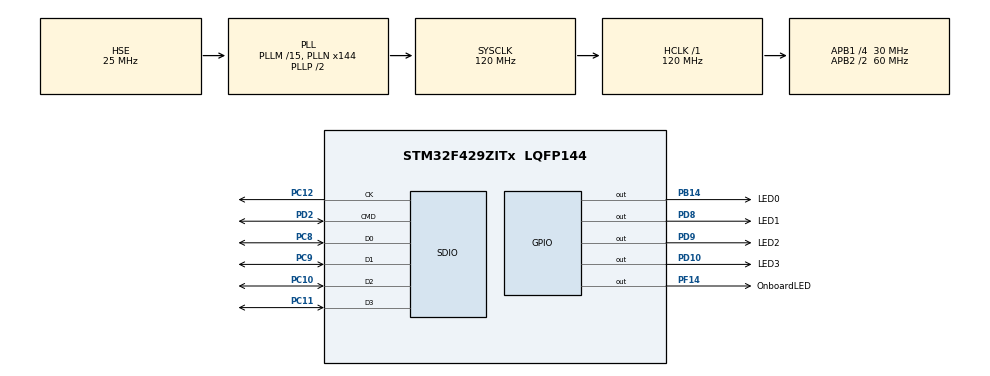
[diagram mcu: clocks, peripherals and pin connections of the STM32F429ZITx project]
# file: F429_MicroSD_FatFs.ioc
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Dma.Request0=SDIO_RX
Dma.Request1=SDIO_TX
Dma.SDIO_RX.0.Direction=DMA_PERIPH_TO_MEMORY
Dma.SDIO_RX.0.FIFOMode=DMA_FIFOMODE_ENABLE
Dma.SDIO_RX.0.FIFOThreshold=DMA_FIFO_THRESHOLD_FULL
Dma.SDIO_RX.0.Instance=DMA2_Stream3
Dma.SDIO_RX.0.MemBurst=DMA_MBURST_INC4
Dma.SDIO_RX.0.MemDataAlignment=DMA_MDATAALIGN_WORD
Dma.SDIO_RX.0.MemInc=DMA_MINC_ENABLE
Dma.SDIO_RX.0.Mode=DMA_PFCTRL
Dma.SDIO_RX.0.PeriphBurst=DMA_PBURST_INC4
Dma.SDIO_RX.0.PeriphDataAlignment=DMA_PDATAALIGN_WORD
Dma.SDIO_RX.0.PeriphInc=DMA_PINC_DISABLE
Dma.SDIO_RX.0.Priority=DMA_PRIORITY_LOW
Dma.SDIO_TX.1.Direction=DMA_MEMORY_TO_PERIPH
Dma.SDIO_TX.1.FIFOMode=DMA_FIFOMODE_ENABLE
Dma.SDIO_TX.1.FIFOThreshold=DMA_FIFO_THRESHOLD_FULL
Dma.SDIO_TX.1.Instance=DMA2_Stream6
Dma.SDIO_TX.1.MemBurst=DMA_MBURST_INC4
Dma.SDIO_TX.1.MemDataAlignment=DMA_MDATAALIGN_WORD
Dma.SDIO_TX.1.MemInc=DMA_MINC_ENABLE
Dma.SDIO_TX.1.Mode=DMA_PFCTRL
Dma.SDIO_TX.1.PeriphBurst=DMA_PBURST_INC4
Dma.SDIO_TX.1.PeriphDataAlignment=DMA_PDATAALIGN_WORD
Dma.SDIO_TX.1.PeriphInc=DMA_PINC_DISABLE
Dma.SDIO_TX.1.Priority=DMA_PRIORITY_LOW
FATFS.USE_DMA_CODE_SD=1
FATFS._USE_LFN=2
Mcu.Family=STM32F4
Mcu.Name=STM32F429ZITx
Mcu.Package=LQFP144
NVIC.DMA2_Stream3_IRQn=true\:0\:0\:true\:false\:true\:false
NVIC.DMA2_Stream6_IRQn=true\:0\:0\:true\:false\:true\:false
NVIC.PriorityGroup=NVIC_PRIORITYGROUP_4
NVIC.SDIO_IRQn=true\:0\:0\:true\:false\:true\:true
PB14.GPIO_Label=LED0
PB14.PinState=GPIO_PIN_SET
PB14.Signal=GPIO_Output
PC10.Mode=SD_4_bits_Wide_bus
PC10.Signal=SDIO_D2
PC11.Mode=SD_4_bits_Wide_bus
PC11.Signal=SDIO_D3
PC12.Mode=SD_4_bits_Wide_bus
PC12.Signal=SDIO_CK
PC8.Mode=SD_4_bits_Wide_bus
PC8.Signal=SDIO_D0
PC9.Mode=SD_4_bits_Wide_bus
PC9.Signal=SDIO_D1
PD10.GPIO_Label=LED3
PD10.PinState=GPIO_PIN_SET
PD10.Signal=GPIO_Output
PD2.Mode=SD_4_bits_Wide_bus
PD2.Signal=SDIO_CMD
PD8.GPIO_Label=LED1
PD8.PinState=GPIO_PIN_SET
PD8.Signal=GPIO_Output
PD9.GPIO_Label=LED2
PD9.PinState=GPIO_PIN_SET
PD9.Signal=GPIO_Output
PF14.GPIO_Label=OnboardLED
PF14.PinState=GPIO_PIN_RESET
PF14.Signal=GPIO_Output
PH0/OSC_IN.Mode=HSE-External-Oscillator
PH0/OSC_IN.Signal=RCC_OSC_IN
PH1/OSC_OUT.Mode=HSE-External-Oscillator
PH1/OSC_OUT.Signal=RCC_OSC_OUT
ProjectManager.HeapSize=0x200
ProjectManager.StackSize=0x400
ProjectManager.TargetToolchain=MDK-ARM V5
RCC.48MHZClocksFreq_Value=48000000
RCC.AHBFreq_Value=120000000
RCC.APB1CLKDivider=RCC_HCLK_DIV4
RCC.APB1Freq_Value=30000000
RCC.APB1TimFreq_Value=60000000
RCC.APB2CLKDivider=RCC_HCLK_DIV2
RCC.APB2Freq_Value=60000000
RCC.APB2TimFreq_Value=120000000
RCC.CortexFreq_Value=120000000
RCC.HCLKFreq_Value=120000000
RCC.HSE_VALUE=25000000
RCC.HSI_VALUE=16000000
RCC.LSE_VALUE=32768
RCC.PLLM=15
RCC.PLLN=144
RCC.PLLQ=5
RCC.PLLSourceVirtual=RCC_PLLSOURCE_HSE
RCC.SYSCLKFreq_VALUE=120000000
RCC.SYSCLKSource=RCC_SYSCLKSOURCE_PLLCLK
RCC.VCOOutputFreq_Value=240000000
SDIO.ClockDiv=0
VP_FATFS_VS_SDIO.Mode=SDIO
board=custom

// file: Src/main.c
/* USER CODE BEGIN Header */
/**
  ******************************************************************************
  * @file           : main.c
  * @brief          : Main program body
  ******************************************************************************
  * This notice applies to any and all portions of this file
  * that are not between comment pairs USER CODE BEGIN and
  * USER CODE END. Other portions of this file, whether
  * inserted by the user or by software development tools
  * are owned by their respective copyright owners.
  *
  * Copyright (c) 2019 STMicroelectronics International N.V.
  * All rights reserved.
  *
  * Redistribution and use in source and binary forms, with or without
  * modification, are permitted, provided that the following conditions are met:
  *
  * 1. Redistribution of source code must retain the above copyright notice,
  *    this list of conditions and the following disclaimer.
  * 2. Redistributions in binary form must reproduce the above copyright notice,
  *    this list of conditions and the following disclaimer in the documentation
  *    and/or other materials provided with the distribution.
  * 3. Neither the name of STMicroelectronics nor the names of other
  *    contributors to this software may be used to endorse or promote products
  *    derived from this software without specific written permission.
  * 4. This software, including modifications and/or derivative works of this
  *    software, must execute solely and exclusively on microcontroller or
  *    microprocessor devices manufactured by or for STMicroelectronics.
  * 5. Redistribution and use of this software other than as permitted under
  *    this license is void and will automatically terminate your rights under
  *    this license.
  *
  * THIS SOFTWARE IS PROVIDED BY STMICROELECTRONICS AND CONTRIBUTORS "AS IS"
  * AND ANY EXPRESS, IMPLIED OR STATUTORY WARRANTIES, INCLUDING, BUT NOT
  * LIMITED TO, THE IMPLIED WARRANTIES OF MERCHANTABILITY, FITNESS FOR A
  * PARTICULAR PURPOSE AND NON-INFRINGEMENT OF THIRD PARTY INTELLECTUAL PROPERTY
  * RIGHTS ARE DISCLAIMED TO THE FULLEST EXTENT PERMITTED BY LAW. IN NO EVENT
  * SHALL STMICROELECTRONICS OR CONTRIBUTORS BE LIABLE FOR ANY DIRECT, INDIRECT,
  * INCIDENTAL, SPECIAL, EXEMPLARY, OR CONSEQUENTIAL DAMAGES (INCLUDING, BUT NOT
  * LIMITED TO, PROCUREMENT OF SUBSTITUTE GOODS OR SERVICES; LOSS OF USE, DATA,
  * OR PROFITS; OR BUSINESS INTERRUPTION) HOWEVER CAUSED AND ON ANY THEORY OF
  * LIABILITY, WHETHER IN CONTRACT, STRICT LIABILITY, OR TORT (INCLUDING
  * NEGLIGENCE OR OTHERWISE) ARISING IN ANY WAY OUT OF THE USE OF THIS SOFTWARE,
  * EVEN IF ADVISED OF THE POSSIBILITY OF SUCH DAMAGE.
  *
  ******************************************************************************
  */
/* USER CODE END Header */

#include "main.h"
#include "fatfs.h"

SD_HandleTypeDef hsd;
DMA_HandleTypeDef hdma_sdio_rx;
DMA_HandleTypeDef hdma_sdio_tx;

/* USER CODE BEGIN PV */
static uint8_t buffer[_MAX_SS]; /* a work buffer for the f_mkfs() */

extern FATFS SDFatFS;    /* File system object for SD logical drive */
extern FIL SDFile;     /* File object */

extern uint8_t retSD;    /* Return value for SD */

FIL fil;      			 // file objects

uint32_t byteswritten;                /* File write counts */
uint32_t bytesread;                   /* File read counts */
uint8_t wtext[] = "This is STM32 working with FatFs"; /* File write buffer */
uint8_t rtext[100];                     /* File read buffers */
char filename[] = "STM32F4CubeMX.txt";
/* USER CODE END PV */

void SystemClock_Config(void);
static void MX_GPIO_Init(void);
static void MX_DMA_Init(void);
static void MX_SDIO_SD_Init(void);

int main(void)
{

  /* MCU Configuration--------------------------------------------------------*/

  /* Reset of all peripherals, Initializes the Flash interface and the Systick. */
  HAL_Init();

  /* Configure the system clock */
  SystemClock_Config();

  /* Initialize all configured peripherals */
  MX_GPIO_Init();
  MX_DMA_Init();
  MX_SDIO_SD_Init();
  MX_FATFS_Init();
  /* USER CODE BEGIN 2 */
//=====================================================================//
	/*##-1- Register the file system object to the FatFs module ##############*/
	retSD = f_mount(&SDFatFS, "", 0);
	if(retSD)
	{
		Error_Handler();
	}
	else
		HAL_GPIO_WritePin(LED3_GPIO_Port, LED3_Pin, GPIO_PIN_RESET);
//=====================================================================//
		/*##-2- Create and Open new text file objects with write access ######*/
	retSD = f_open(&fil, filename, FA_CREATE_ALWAYS | FA_WRITE);
	if(retSD)
	{
		HAL_GPIO_WritePin(LED3_GPIO_Port, LED3_Pin, GPIO_PIN_SET);
		Error_Handler();
	}
	else
		HAL_GPIO_WritePin(LED3_GPIO_Port, LED3_Pin, GPIO_PIN_RESET);
//=====================================================================//
	/*##-3- Write data to the text files ###############################*/
	retSD = f_write(&fil, wtext, sizeof(wtext), (void *)&byteswritten);
	if(retSD)
	{
		HAL_GPIO_WritePin(LED3_GPIO_Port, LED3_Pin, GPIO_PIN_SET);
		Error_Handler();
	}
	else
		HAL_GPIO_WritePin(LED3_GPIO_Port, LED3_Pin, GPIO_PIN_RESET);
//=====================================================================//
	/*##-4- Close the open text files ################################*/
	retSD = f_close(&fil);
	if(retSD)
	{
		HAL_GPIO_WritePin(LED3_GPIO_Port, LED3_Pin, GPIO_PIN_SET);
		Error_Handler();
	}
	else
		HAL_GPIO_WritePin(LED3_GPIO_Port, LED3_Pin, GPIO_PIN_RESET);
//=====================================================================//
//=====================================================================//
//=====================================================================//
	/*##-5- Open the text files object with read access ##############*/
	retSD = f_open(&fil, filename, FA_READ);
	if(retSD)
	{
		HAL_GPIO_WritePin(LED3_GPIO_Port, LED3_Pin, GPIO_PIN_SET);
		Error_Handler();
	}
	else
		HAL_GPIO_WritePin(LED3_GPIO_Port, LED3_Pin, GPIO_PIN_RESET);
//=====================================================================//
	/*##-6- Read data from the text files ##########################*/
	retSD = f_read(&fil, rtext, sizeof(rtext), (UINT*)&bytesread);
	if(retSD)
	{
		HAL_GPIO_WritePin(LED3_GPIO_Port, LED3_Pin, GPIO_PIN_SET);
		Error_Handler();
	}
	else
		HAL_GPIO_WritePin(LED3_GPIO_Port, LED3_Pin, GPIO_PIN_RESET);
//=====================================================================//
	/*##-7- Close the open text files ############################*/
	retSD = f_close(&fil);
	if(retSD)
	{
		HAL_GPIO_WritePin(LED3_GPIO_Port, LED3_Pin, GPIO_PIN_SET);
		Error_Handler();
	}
	else
		HAL_GPIO_WritePin(LED3_GPIO_Port, LED3_Pin, GPIO_PIN_RESET);
//=====================================================================//
	/*##-8- Compare read data with the expected data ############*/
	if(bytesread == byteswritten)
		HAL_GPIO_WritePin(LED2_GPIO_Port, LED2_Pin, GPIO_PIN_RESET);
  /* USER CODE END 2 */

  /* Infinite loop */
  while (1)
  {

  }
}

void SystemClock_Config(void)
{
  RCC_OscInitTypeDef RCC_OscInitStruct = {0};
  RCC_ClkInitTypeDef RCC_ClkInitStruct = {0};

  /**Configure the main internal regulator output voltage
  */
  __HAL_RCC_PWR_CLK_ENABLE();
  __HAL_PWR_VOLTAGESCALING_CONFIG(PWR_REGULATOR_VOLTAGE_SCALE3);
  /**Initializes the CPU, AHB and APB busses clocks
  */
  RCC_OscInitStruct.OscillatorType = RCC_OSCILLATORTYPE_HSE;
  RCC_OscInitStruct.HSEState = RCC_HSE_ON;
  RCC_OscInitStruct.PLL.PLLState = RCC_PLL_ON;
  RCC_OscInitStruct.PLL.PLLSource = RCC_PLLSOURCE_HSE;
  RCC_OscInitStruct.PLL.PLLM = 15;
  RCC_OscInitStruct.PLL.PLLN = 144;
  RCC_OscInitStruct.PLL.PLLP = RCC_PLLP_DIV2;
  RCC_OscInitStruct.PLL.PLLQ = 5;
  if (HAL_RCC_OscConfig(&RCC_OscInitStruct) != HAL_OK)
  {
    Error_Handler();
  }
  /**Initializes the CPU, AHB and APB busses clocks
  */
  RCC_ClkInitStruct.ClockType = RCC_CLOCKTYPE_HCLK|RCC_CLOCKTYPE_SYSCLK
                              |RCC_CLOCKTYPE_PCLK1|RCC_CLOCKTYPE_PCLK2;
  RCC_ClkInitStruct.SYSCLKSource = RCC_SYSCLKSOURCE_PLLCLK;
  RCC_ClkInitStruct.AHBCLKDivider = RCC_SYSCLK_DIV1;
  RCC_ClkInitStruct.APB1CLKDivider = RCC_HCLK_DIV4;
  RCC_ClkInitStruct.APB2CLKDivider = RCC_HCLK_DIV2;

  if (HAL_RCC_ClockConfig(&RCC_ClkInitStruct, FLASH_LATENCY_3) != HAL_OK)
  {
    Error_Handler();
  }
}

static void MX_SDIO_SD_Init(void)
{

  hsd.Instance = SDIO;
  hsd.Init.ClockEdge = SDIO_CLOCK_EDGE_RISING;
  hsd.Init.ClockBypass = SDIO_CLOCK_BYPASS_DISABLE;
  hsd.Init.ClockPowerSave = SDIO_CLOCK_POWER_SAVE_DISABLE;
  hsd.Init.BusWide = SDIO_BUS_WIDE_1B;
  hsd.Init.HardwareFlowControl = SDIO_HARDWARE_FLOW_CONTROL_DISABLE;
  hsd.Init.ClockDiv = 0;

}

static void MX_DMA_Init(void)
{
  /* DMA controller clock enable */
  __HAL_RCC_DMA2_CLK_ENABLE();

  /* DMA interrupt init */
  /* DMA2_Stream3_IRQn interrupt configuration */
  HAL_NVIC_SetPriority(DMA2_Stream3_IRQn, 0, 0);
  HAL_NVIC_EnableIRQ(DMA2_Stream3_IRQn);
  /* DMA2_Stream6_IRQn interrupt configuration */
  HAL_NVIC_SetPriority(DMA2_Stream6_IRQn, 0, 0);
  HAL_NVIC_EnableIRQ(DMA2_Stream6_IRQn);

}

static void MX_GPIO_Init(void)
{
  GPIO_InitTypeDef GPIO_InitStruct = {0};

  /* GPIO Ports Clock Enable */
  __HAL_RCC_GPIOH_CLK_ENABLE();
  __HAL_RCC_GPIOF_CLK_ENABLE();
  __HAL_RCC_GPIOB_CLK_ENABLE();
  __HAL_RCC_GPIOD_CLK_ENABLE();
  __HAL_RCC_GPIOC_CLK_ENABLE();

  /*Configure GPIO pin Output Level */
  HAL_GPIO_WritePin(OnboardLED_GPIO_Port, OnboardLED_Pin, GPIO_PIN_RESET);

  /*Configure GPIO pin Output Level */
  HAL_GPIO_WritePin(LED0_GPIO_Port, LED0_Pin, GPIO_PIN_SET);

  /*Configure GPIO pin Output Level */
  HAL_GPIO_WritePin(GPIOD, LED1_Pin|LED2_Pin|LED3_Pin, GPIO_PIN_SET);

  /*Configure GPIO pin : OnboardLED_Pin */
  GPIO_InitStruct.Pin = OnboardLED_Pin;
  GPIO_InitStruct.Mode = GPIO_MODE_OUTPUT_PP;
  GPIO_InitStruct.Pull = GPIO_NOPULL;
  GPIO_InitStruct.Speed = GPIO_SPEED_FREQ_LOW;
  HAL_GPIO_Init(OnboardLED_GPIO_Port, &GPIO_InitStruct);

  /*Configure GPIO pin : LED0_Pin */
  GPIO_InitStruct.Pin = LED0_Pin;
  GPIO_InitStruct.Mode = GPIO_MODE_OUTPUT_PP;
  GPIO_InitStruct.Pull = GPIO_NOPULL;
  GPIO_InitStruct.Speed = GPIO_SPEED_FREQ_LOW;
  HAL_GPIO_Init(LED0_GPIO_Port, &GPIO_InitStruct);

  /*Configure GPIO pins : LED1_Pin LED2_Pin LED3_Pin */
  GPIO_InitStruct.Pin = LED1_Pin|LED2_Pin|LED3_Pin;
  GPIO_InitStruct.Mode = GPIO_MODE_OUTPUT_PP;
  GPIO_InitStruct.Pull = GPIO_NOPULL;
  GPIO_InitStruct.Speed = GPIO_SPEED_FREQ_LOW;
  HAL_GPIO_Init(GPIOD, &GPIO_InitStruct);

}

void Error_Handler(void)
{
  /* USER CODE BEGIN Error_Handler_Debug */
  /* User can add his own implementation to report the HAL error return state */
  /* Turn LED3 ON */
  HAL_GPIO_WritePin(LED0_GPIO_Port, LED0_Pin, GPIO_PIN_RESET);
  while(1)
  {
  }
  /* USER CODE END Error_Handler_Debug */
}

/************************ (C) COPYRIGHT STMicroelectronics *****END OF FILE****/
